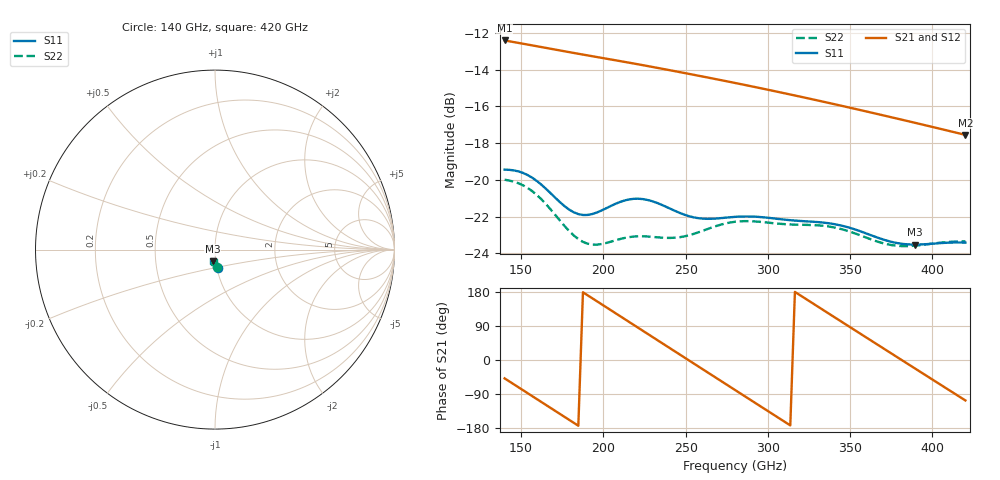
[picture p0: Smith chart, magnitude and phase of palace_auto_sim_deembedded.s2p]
! Created with skrf 1.11.0 (http://scikit-rf.org).
# GHz S DB R 50.0
!freq dBS11 angS11 dBS21 angS21 dBS12 angS12 dBS22 angS22
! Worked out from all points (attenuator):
!   101 points, 140 GHz to 420 GHz, reference 50 ohm
!   highest |S21| = -12.42 dB at 140 GHz (marker M1); lowest = -17.6 dB at 420 GHz (marker M2)
!   lowest |S11| = -23.5 dB at 389.2 GHz (marker M3), VSWR 1.14, Z = 48.3 - j6.35 ohm
!   |S11| at or under -10 dB: start of sweep to end of sweep
!   |S22| runs from -23.6 to -20.0 dB; largest |S21 - S12| = 4e-13
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140  -19.44 -79.9  -12.42 -48.5  -12.42 -48.5  -19.99 -83.2
151.2  -19.62 -83.4  -12.60 -79.7  -12.60 -79.7  -20.29 -86.2
162.4  -20.26 -87.1  -12.78 -111.0  -12.78 -111.0  -21.06 -89.9
176.4  -21.42 -87.3  -13.01 -150.1  -13.01 -150.1  -22.50 -90.4
187.6  -21.91 -83.4  -13.19 178.7  -13.19 178.7  -23.37 -86.0
198.8  -21.67 -80.4  -13.36 147.5  -13.36 147.5  -23.49 -80.9
212.8  -21.12 -82.1  -13.58 108.4  -13.58 108.4  -23.16 -78.8
224  -21.04 -86.0  -13.76 77.1  -13.76 77.1  -23.06 -79.4
235.2  -21.34 -89.5  -13.95 45.8  -13.95 45.8  -23.14 -79.5
254.8  -22.03 -90.9  -14.28 -8.8  -14.28 -8.8  -22.94 -78.2
268.8  -22.10 -90.4  -14.53 -47.9  -14.53 -47.9  -22.50 -79.4
280  -22.01 -91.4  -14.73 -79.1  -14.73 -79.1  -22.28 -82.0
291.2  -21.99 -93.1  -14.93 -110.3  -14.93 -110.3  -22.25 -84.9
305.2  -22.11 -95.3  -15.20 -149.2  -15.20 -149.2  -22.37 -87.7
316.4  -22.21 -96.6  -15.41 179.7  -15.41 179.7  -22.43 -89.3
327.6  -22.28 -98.1  -15.63 148.6  -15.63 148.6  -22.46 -91.2
338.8  -22.38 -100.0  -15.85 117.5  -15.85 117.5  -22.56 -93.6
350  -22.61 -102.0  -16.08 86.5  -16.08 86.5  -22.82 -95.8
375.2  -23.37 -102.7  -16.60 16.8  -16.60 16.8  -23.54 -96.1
389.2  -23.52 -101.3  -16.89 -21.9  -16.89 -21.9  -23.58 -94.7
406  -23.43 -100.7  -17.25 -68.2  -17.25 -68.2  -23.40 -94.6
420  -23.41 -101.3  -17.55 -106.7  -17.55 -106.7  -23.33 -95.2
